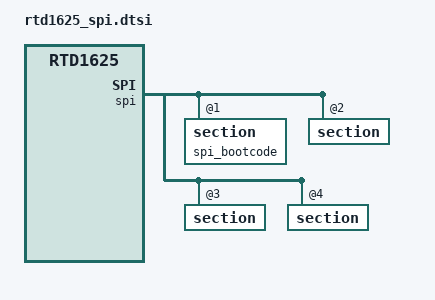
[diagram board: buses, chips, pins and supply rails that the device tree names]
// SPDX-License-Identifier: GPL-2.0+

/ {
	#address-cells = <1>;
	#size-cells = <1>;

	binman: binman {
	spi {
		filename = "rtd1625_spi_bind.bin";
		allow-repack;
		spi_bootcode: section@1 {
			size = <0x60000>; // 382k, aligned to 384k
			align-size = <0x10000>;
			pad-byte = <0xff>;
			/* 344KB: 128k(u-boot-env),154k(auxcode),62k(padding) */
			uboot_env: fill@0 {
				size = <0x20000>;
				fill-byte = [ff];
			};
			spi_auxcode: blob@0 {
				filename = "auxcode/Auxcode_Area.aiot.bin";
				size = <0x26800>;
				align-size = <0x200>;
			};
			fill@1 {
				size = <0xF800>;
				fill-byte = [ff];
			};
			spi_scs_cert: blob@1 {
				filename = "scs_certificate/SCS_Certificate.bin";
				size = <0x400>;
			};
			spi_scs_param: blob@2 {
				filename = "scs_param/0000/SCS_Params_Area.spi.dev.bin";
				size = <0x200>;
				align-size = <0x200>;
			};
			spi_extrom: blob@3 {
				filename = "extrom_dice_lib/Extrom_Dice_Lib_Area.spi.bin";
				size = <0x9200>;
				align-size = <0x200>;
			};
		};
		section@2 {
			size = <0x78000>; //480k
			pad-byte = <0xff>;
			align-size = <0x1000>;
			fit {
				description = "TrustFW fitImage for Kent";
				fit,external-offset = <0x1000>;
				fit,align = <0x1000>;

				images {
					//size = <0x72C00>; //459k
					atf_cert {
						description = "atf certificate image";
						type = "firmware";
						arch = "arm64";
						compression = "none";

						blob {
							size = <0x400>;
							filename = "atf_certificate/ATF_Certificate.bin";
						};
					};
					rtk_param {
						description = "rtk param image";
						type = "firmware";
						arch = "arm64";
						compression = "none";

						blob {
							size = <0x800>;
							filename = "rtk_param/RTK_Params_Area.bin";
						};
					};
					dram_init {
						description = "dram init image";
						type = "standalone";
						arch = "arm64";
						compression = "none";

						blob {
							size = <0x40000>;
							filename = "dram_init/DRAM_Init_Area.bin";
						};
					};
					bl31 {
						description = "bl31 image";
						type = "standalone";
						arch = "arm64";
						compression = "none";

						blob {
							size = <0x32000>;
							filename = "bl31/BL31_Area.bin";
						};
					};
				};
			};
		};
		section@3 {
			pad-byte = <0xff>;
			blob@1 {
				filename = "u-boot-spl.bin_pad";
				size = <0x25800>; // 150k
				align-size = <0x200>;
			};
		};
		section@4 {
			align = <0x100000>; // 1MB-aligned offset
			pad-byte = <0xff>;
			blob@1 {
				filename = "u-boot.img";
				size = <0xA0000>;
				align-size = <0x200>;
			};
		};
		fdtmap {
		};
		image-header {
			location = "end";
		};
	}; // SPI image
	};
};
